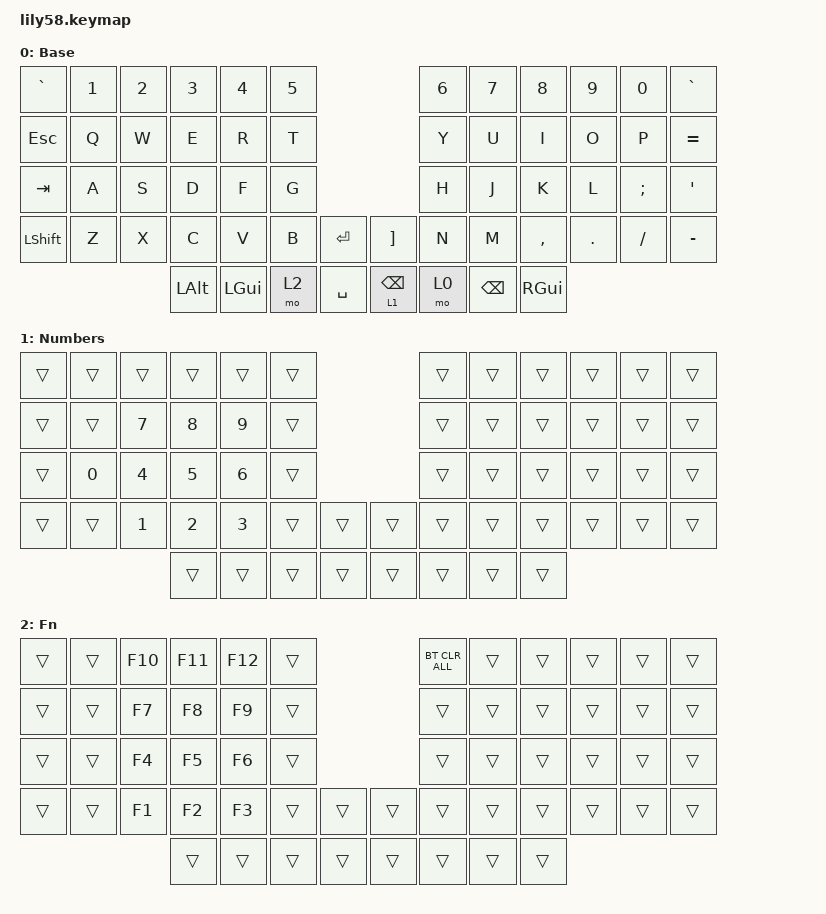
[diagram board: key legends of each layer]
/*
 * Copyright (c) 2020 The ZMK Contributors
 *
 * SPDX-License-Identifier: MIT
 */

#include <behaviors.dtsi>
#include <dt-bindings/zmk/bt.h>
#include <dt-bindings/zmk/keys.h>

/ {
    keymap {
        compatible = "zmk,keymap";

        default_layer {
            // ------------------------------------------------------------------------------------------------------------
            // |  ESC  |  1  |  2  |  3   |  4   |  5   |                   |  6   |  7    |  8    |  9   |   0   |   `   |
            // |  TAB  |  Q  |  W  |  E   |  R   |  T   |                   |  Y   |  U    |  I    |  O   |   P   |   -   |
            // |  CTRL |  A  |  S  |  D   |  F   |  G   |                   |  H   |  J    |  K    |  L   |   ;   |   '   |
            // | SHIFT |  Z  |  X  |  C   |  V   |  B   |   "["  |  |  "]"  |  N   |  M    |  ,    |  .   |   /   | SHIFT |
            //                     | ALT  | GUI  | LOWER|  SPACE |  | ENTER | RAISE| BSPC  | GUI   |

            display-name = "Base";
            bindings = <
&kp GRAVE   &kp N1  &kp N2  &kp N3    &kp N4    &kp N5                                 &kp N6  &kp N7    &kp N8     &kp N9   &kp N0    &kp GRAVE
&kp ESCAPE  &kp Q   &kp W   &kp E     &kp R     &kp T                                  &kp Y   &kp U     &kp I      &kp O    &kp P     &kp EQUAL
&kp TAB     &kp A   &kp S   &kp D     &kp F     &kp G                                  &kp H   &kp J     &kp K      &kp L    &kp SEMI  &kp SQT
&kp LSHFT   &kp Z   &kp X   &kp C     &kp V     &kp B   &kp RETURN    &kp RBKT         &kp N   &kp M     &kp COMMA  &kp DOT  &kp FSLH  &kp MINUS
                            &kp LALT  &kp LGUI  &mo 2   &kp SPACE     &lt 1 BACKSPACE  &mo 0   &kp BSPC  &kp RGUI
            >;
        };

        Numbers {
            bindings = <
&trans  &trans  &trans  &trans  &trans  &trans                    &trans  &trans  &trans  &trans  &trans  &trans
&trans  &trans  &kp N7  &kp N8  &kp N9  &trans                    &trans  &trans  &trans  &trans  &trans  &trans
&trans  &kp N0  &kp N4  &kp N5  &kp N6  &trans                    &trans  &trans  &trans  &trans  &trans  &trans
&trans  &trans  &kp N1  &kp N2  &kp N3  &trans  &trans    &trans  &trans  &trans  &trans  &trans  &trans  &trans
                        &trans  &trans  &trans  &trans    &trans  &trans  &trans  &trans
            >;

            label = "Numbers";
        };

        Fn {
            bindings = <
&trans  &trans  &kp F10  &kp F11  &kp F12  &trans                    &bt BT_CLR_ALL  &trans  &trans  &trans  &trans  &trans
&trans  &trans  &kp F7   &kp F8   &kp F9   &trans                    &trans          &trans  &trans  &trans  &trans  &trans
&trans  &trans  &kp F4   &kp F5   &kp F6   &trans                    &trans          &trans  &trans  &trans  &trans  &trans
&trans  &trans  &kp F1   &kp F2   &kp F3   &trans  &trans    &trans  &trans          &trans  &trans  &trans  &trans  &trans
                         &trans   &trans   &trans  &trans    &trans  &trans          &trans  &trans
            >;

            label = "Fn";
        };
    };
};
